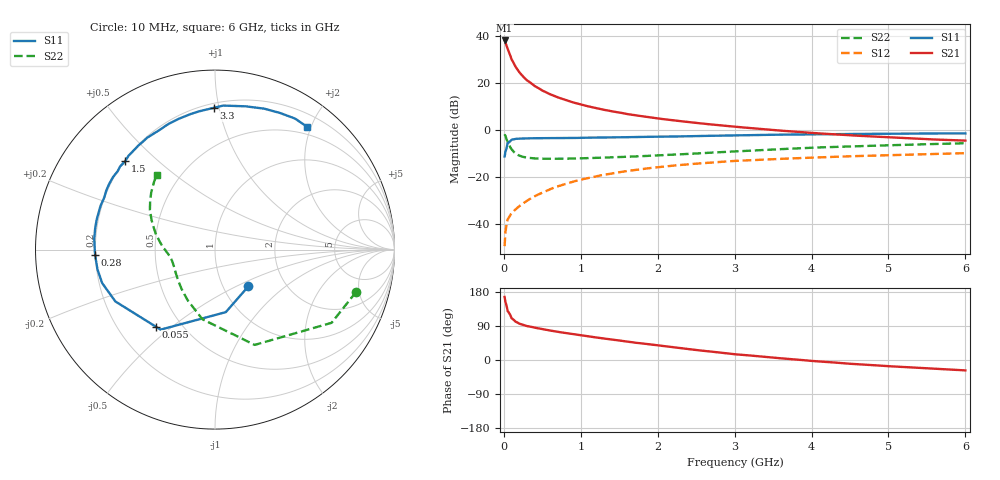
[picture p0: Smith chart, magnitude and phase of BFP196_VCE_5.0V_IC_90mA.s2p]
! Infineon Technologies  Discrete & RF Semiconductors
! BFP196
! VCE = 5.0 V,  IC =  90mA
! Common Emitter S-Parameters:  Jan 2016
# GHz  S  MA  R  50
!  f  S11  S21  S12  S22
! GHz  MAG  ANG  MAG  ANG  MAG  ANG  MAG  ANG
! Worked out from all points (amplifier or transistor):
!   210 points, 10 MHz to 6 GHz, reference 50 ohm
!   highest |S21| = 38.2 dB at 10 MHz (marker M1)
!   |S21| within 3 dB of that: start of sweep to 43.03 MHz
!   unconditionally stable (mu >= 1): 376.6 MHz to 4.751 GHz
!   at 185 MHz: K = 0.80, MSG = 29.1 dB, |S12| = -32.8 dB
!   at 1.52 GHz: K = 1.09, MAG = 10.8 dB, |S12| = -17.8 dB
!   at 6 GHz: K = 0.98, MSG = 2.7 dB, |S12| = -9.8 dB
!   S11 on the Smith chart (normalised r, x): 10 MHz: 1.31, -0.58; 55 MHz: 0.36, -0.44; 280 MHz: 0.20, -0.02; 1.5 GHz: 0.20, +0.39; 3.3 GHz: 0.23, +0.96; 6 GHz: 0.38, +1.94
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0.01  0.2764 -47.7  81.38 166.4  0.0034 79.7  0.8206 -16.7
0.02  0.3536 -80.2  74.69 153.7  0.0067 67.5  0.7672 -32.1
0.05  0.5392 -124.2  53.88 129.0  0.0126 53.7  0.5752 -67.4
0.055  0.5412 -127.3  51.57 127.8  0.013 53.3  0.5513 -69.6
0.1  0.6257 -152.5  32.41 110.2  0.017 50.3  0.3945 -100.2
0.15  0.6559 -163.5  22.57 101.4  0.0204 52.0  0.3212 -118.2
0.2  0.6641 -170.5  17.23 96.0  0.0241 56.4  0.2885 -130.0
0.24  0.6659 -174.3  14.49 93.3  0.0269 57.7  0.2734 -136.9
0.28  0.6681 -177.5  12.46 90.8  0.0299 60.3  0.2644 -142.1
0.3  0.6696 -179.0  11.57 89.6  0.0314 61.6  0.2609 -144.3
0.4  0.6756 174.9  8.743 85.2  0.0392 63.6  0.2513 -152.8
0.5  0.6777 170.4  6.994 81.5  0.0467 64.8  0.2471 -158.1
0.6  0.6801 166.0  5.837 77.7  0.0555 65.4  0.2465 -161.8
0.7  0.6808 161.9  5.012 74.2  0.0637 64.9  0.2469 -164.4
1.02  0.6901 150.9  3.459 64.7  0.09 62.4  0.2523 -170.5
1.5  0.702 135.5  2.382 51.4  0.1275 56.0  0.2683 -176.5
2.02  0.729 120.7  1.766 38.1  0.1644 48.2  0.2923 176.6
3.1  0.7793 94.5  1.149 13.6  0.2256 31.7  0.3596 160.9
3.3  0.7897 90.6  1.076 10.0  0.2339 28.9  0.3737 158.0
4.1  0.8182 76.5  0.855 -3.8  0.2642 18.9  0.4299 147.5
5.1  0.8447 63.4  0.694 -17.4  0.2972 7.7  0.4828 136.9
6  0.8554 53.1  0.601 -27.4  0.3248 -2.2  0.5284 127.9
